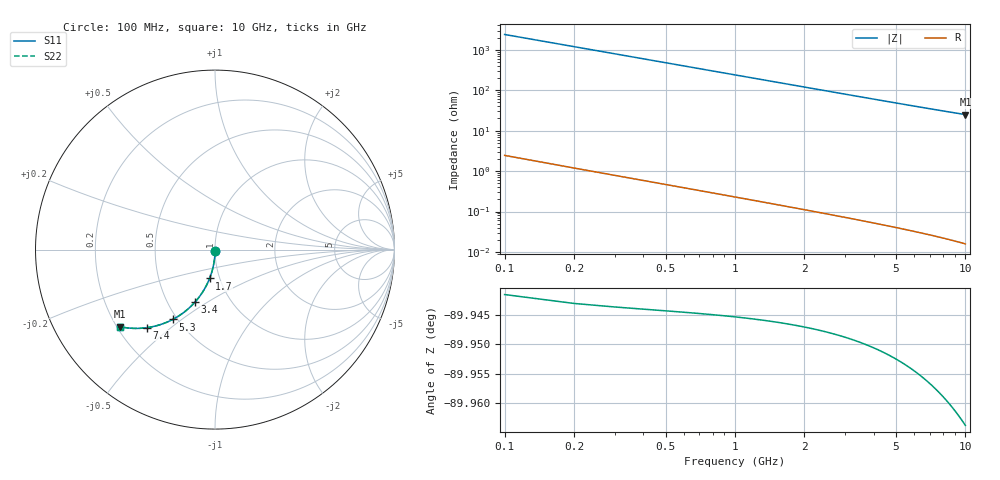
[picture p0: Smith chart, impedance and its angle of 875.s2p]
# Hz S RI R 50.00
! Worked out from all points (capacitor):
!   100 points, 100 MHz to 10 GHz, reference 50 ohm
!   read as one part in shunt: C = 664 fF near 100 MHz
!   lowest |Z| = 25 ohm at 10 GHz (marker M1)
!   S11 on the Smith chart (normalised r, x): 100 MHz: 1.00, -0.02; 1.7 GHz: 0.90, -0.30; 3.4 GHz: 0.68, -0.44; 5.3 GHz: 0.47, -0.46; 7.4 GHz: 0.32, -0.42; 10 GHz: 0.21, -0.34
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1e8  0.000235 -0.00976  0.9995 -0.0111  0.9995 -0.0111  0.000235 -0.00976
2e8  -9.83e-05 -0.0195  0.9992 -0.0222  0.9992 -0.0222  -9.83e-05 -0.0195
3e8  -0.000648 -0.0293  0.9986 -0.0333  0.9986 -0.0333  -0.000648 -0.0293
4e8  -0.00141 -0.039  0.9979 -0.0444  0.9979 -0.0444  -0.00141 -0.039
5e8  -0.0024 -0.0487  0.9969 -0.0554  0.9969 -0.0554  -0.0024 -0.0487
6e8  -0.00359 -0.0583  0.9957 -0.0664  0.9957 -0.0664  -0.00359 -0.0583
8e8  -0.00661 -0.0776  0.9926 -0.0883  0.9926 -0.0883  -0.00661 -0.0776
1.1e9  -0.0127 -0.1059  0.9864 -0.1207  0.9864 -0.1207  -0.0127 -0.1059
1.4e9  -0.0206 -0.1337  0.9785 -0.1525  0.9785 -0.1525  -0.0206 -0.1337
1.7e9  -0.0302 -0.1607  0.9688 -0.1835  0.9688 -0.1835  -0.0302 -0.1607
1.8e9  -0.0338 -0.1695  0.9652 -0.1937  0.9652 -0.1937  -0.0338 -0.1695
2.1e9  -0.0456 -0.1952  0.9533 -0.2234  0.9533 -0.2234  -0.0456 -0.1952
2.5e9  -0.0635 -0.2278  0.9351 -0.2614  0.9351 -0.2614  -0.0635 -0.2278
2.9e9  -0.0838 -0.2582  0.9147 -0.2972  0.9147 -0.2972  -0.0838 -0.2582
3.4e9  -0.1119 -0.293  0.8863 -0.3388  0.8863 -0.3388  -0.1119 -0.293
4.2e9  -0.1617 -0.3405  0.8359 -0.3971  0.8359 -0.3971  -0.1617 -0.3405
5.1e9  -0.2222 -0.3818  0.7746 -0.4507  0.7746 -0.4507  -0.2222 -0.3818
5.3e9  -0.2359 -0.3893  0.7607 -0.4609  0.7607 -0.4609  -0.2359 -0.3893
6.7e9  -0.332 -0.4258  0.663 -0.5168  0.663 -0.5168  -0.332 -0.4258
7.4e9  -0.3784 -0.4348  0.6157 -0.5355  0.6157 -0.5355  -0.3784 -0.4348
8.4e9  -0.441 -0.439  0.5515 -0.5538  0.5515 -0.5538  -0.441 -0.439
1e10  -0.5304 -0.4293  0.4592 -0.567  0.4592 -0.567  -0.5304 -0.4293
